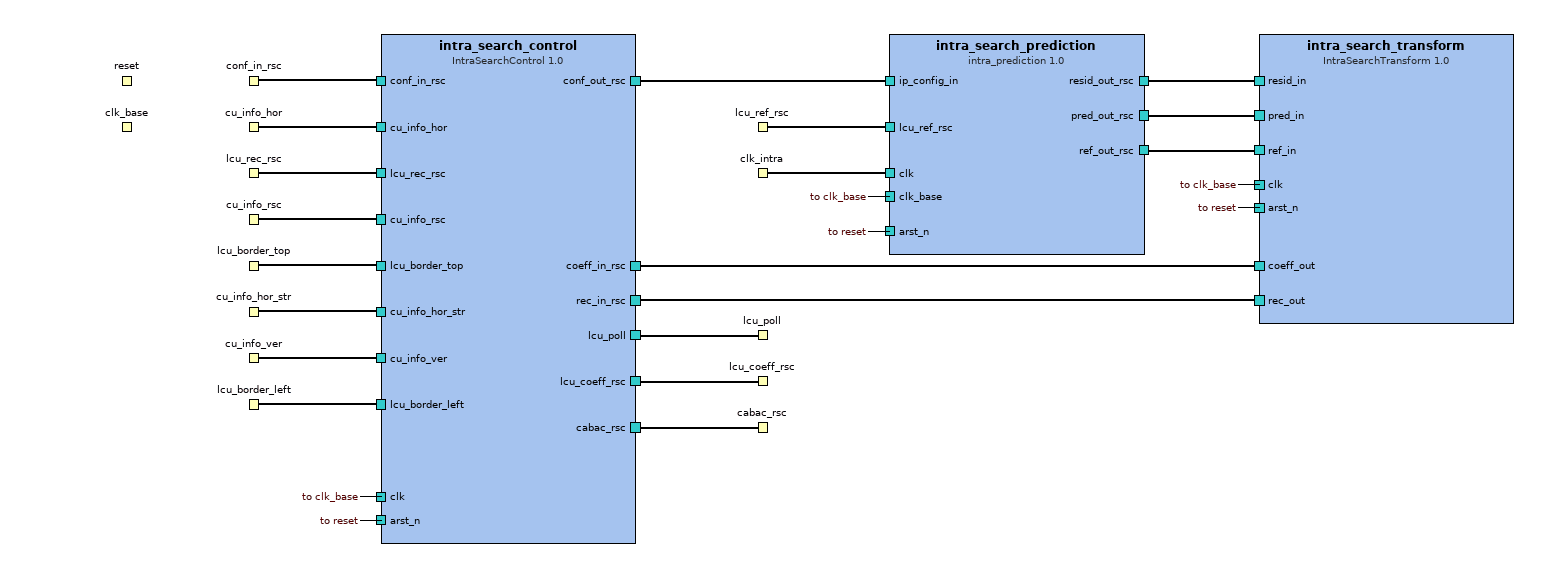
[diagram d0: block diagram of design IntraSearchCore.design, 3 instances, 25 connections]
<?xml version="1.0" encoding="UTF-8"?>
<ipxact:design xmlns:xsi="http://www.w3.org/2001/XMLSchema-instance" xmlns:ipxact="http://www.accellera.org/XMLSchema/IPXACT/1685-2014" xmlns:kactus2="http://kactus2.cs.tut.fi" xsi:schemaLocation="http://www.accellera.org/XMLSchema/IPXACT/1685-2014 http://www.accellera.org/XMLSchema/IPXACT/1685-2014/index.xsd"><ipxact:vendor>tuni.fi</ipxact:vendor><ipxact:library>Kvazaar</ipxact:library><ipxact:name>IntraSearchCore.design</ipxact:name>
 <ipxact:version>1.0</ipxact:version><ipxact:componentInstances>
 <ipxact:componentInstance><ipxact:instanceName>intra_search_control</ipxact:instanceName><ipxact:componentRef vendor="tuni.fi" library="KvazaarControl" name="IntraSearchControl" version="1.0"/></ipxact:componentInstance>
 <ipxact:componentInstance><ipxact:instanceName>intra_search_transform</ipxact:instanceName><ipxact:componentRef vendor="tuni.fi" library="KvazaarTransform" name="IntraSearchTransform" version="1.0"/></ipxact:componentInstance>
 <ipxact:componentInstance><ipxact:instanceName>intra_search_prediction</ipxact:instanceName><ipxact:componentRef vendor="tuni.fi" library="Kvazaar" name="intra_prediction" version="1.0"/></ipxact:componentInstance>
</ipxact:componentInstances><ipxact:interconnections>
 <ipxact:interconnection><ipxact:name>intra_search_prediction_arst_n_to_reset</ipxact:name><ipxact:activeInterface componentRef="intra_search_prediction" busRef="arst_n"/><ipxact:hierInterface busRef="reset"/></ipxact:interconnection>
 <ipxact:interconnection><ipxact:name>intra_search_transform_arst_n_to_reset</ipxact:name><ipxact:activeInterface componentRef="intra_search_transform" busRef="arst_n"/><ipxact:hierInterface busRef="reset"/></ipxact:interconnection>
 <ipxact:interconnection><ipxact:name>intra_search_control_arst_n_to_reset</ipxact:name><ipxact:activeInterface componentRef="intra_search_control" busRef="arst_n"/><ipxact:hierInterface busRef="reset"/></ipxact:interconnection>
 <ipxact:interconnection><ipxact:name>intra_search_control_conf_in_rsc_to_bus</ipxact:name><ipxact:activeInterface componentRef="intra_search_control" busRef="conf_in_rsc"/><ipxact:hierInterface busRef="conf_in_rsc"/></ipxact:interconnection>
 <ipxact:interconnection><ipxact:name>intra_search_control_cu_info_hor_to_bus</ipxact:name><ipxact:activeInterface componentRef="intra_search_control" busRef="cu_info_hor"/><ipxact:hierInterface busRef="cu_info_hor"/></ipxact:interconnection>
 <ipxact:interconnection><ipxact:name>intra_search_control_lcu_border_top_to_bus</ipxact:name><ipxact:activeInterface componentRef="intra_search_control" busRef="lcu_border_top"/><ipxact:hierInterface busRef="lcu_border_top"/></ipxact:interconnection>
 <ipxact:interconnection><ipxact:name>intra_search_control_cu_info_hor_str_to_bus</ipxact:name><ipxact:activeInterface componentRef="intra_search_control" busRef="cu_info_hor_str"/><ipxact:hierInterface busRef="cu_info_hor_str"/></ipxact:interconnection>
 <ipxact:interconnection><ipxact:name>intra_search_control_cu_info_ver_to_bus</ipxact:name><ipxact:activeInterface componentRef="intra_search_control" busRef="cu_info_ver"/><ipxact:hierInterface busRef="cu_info_ver"/></ipxact:interconnection>
 <ipxact:interconnection><ipxact:name>intra_search_control_lcu_border_left_to_bus</ipxact:name><ipxact:activeInterface componentRef="intra_search_control" busRef="lcu_border_left"/><ipxact:hierInterface busRef="lcu_border_left"/></ipxact:interconnection>
 <ipxact:interconnection><ipxact:name>intra_search_control_cu_info_rsc_to_bus_1</ipxact:name><ipxact:activeInterface componentRef="intra_search_control" busRef="cu_info_rsc"/><ipxact:hierInterface busRef="cu_info_rsc"/></ipxact:interconnection>
 <ipxact:interconnection><ipxact:name>intra_search_prediction_resid_out_rsc_to_intra_search_transform_resid_in</ipxact:name><ipxact:activeInterface componentRef="intra_search_prediction" busRef="resid_out_rsc"/><ipxact:activeInterface componentRef="intra_search_transform" busRef="resid_in"/></ipxact:interconnection>
 <ipxact:interconnection><ipxact:name>intra_search_prediction_pred_out_rsc_to_intra_search_transform_pred_in</ipxact:name><ipxact:activeInterface componentRef="intra_search_prediction" busRef="pred_out_rsc"/><ipxact:activeInterface componentRef="intra_search_transform" busRef="pred_in"/></ipxact:interconnection>
 <ipxact:interconnection><ipxact:name>intra_search_prediction_ref_out_rsc_to_intra_search_transform_ref_in</ipxact:name><ipxact:activeInterface componentRef="intra_search_prediction" busRef="ref_out_rsc"/><ipxact:activeInterface componentRef="intra_search_transform" busRef="ref_in"/></ipxact:interconnection>
 <ipxact:interconnection><ipxact:name>intra_search_prediction_lcu_ref_rsc_to_bus</ipxact:name><ipxact:activeInterface componentRef="intra_search_prediction" busRef="lcu_ref_rsc"/><ipxact:hierInterface busRef="lcu_ref_rsc"/></ipxact:interconnection>
 <ipxact:interconnection><ipxact:name>intra_search_transform_rec_out_to_intra_search_control_rec_in_rsc</ipxact:name><ipxact:activeInterface componentRef="intra_search_transform" busRef="rec_out"/><ipxact:activeInterface componentRef="intra_search_control" busRef="rec_in_rsc"/></ipxact:interconnection>
 <ipxact:interconnection><ipxact:name>intra_search_control_coeff_in_rsc_to_intra_search_transform_coeff_out</ipxact:name><ipxact:activeInterface componentRef="intra_search_control" busRef="coeff_in_rsc"/><ipxact:activeInterface componentRef="intra_search_transform" busRef="coeff_out"/></ipxact:interconnection>
 <ipxact:interconnection><ipxact:name>intra_search_control_conf_out_rsc_to_intra_search_prediction_ip_config_in</ipxact:name><ipxact:activeInterface componentRef="intra_search_control" busRef="conf_out_rsc"/><ipxact:activeInterface componentRef="intra_search_prediction" busRef="ip_config_in"/></ipxact:interconnection>
 <ipxact:interconnection><ipxact:name>intra_search_control_cabac_rsc_to_bus_1</ipxact:name><ipxact:activeInterface componentRef="intra_search_control" busRef="cabac_rsc"/><ipxact:hierInterface busRef="cabac_rsc"/></ipxact:interconnection>
 <ipxact:interconnection><ipxact:name>intra_search_control_lcu_poll_to_bus</ipxact:name><ipxact:activeInterface componentRef="intra_search_control" busRef="lcu_poll"/><ipxact:hierInterface busRef="lcu_poll"/></ipxact:interconnection>
 <ipxact:interconnection><ipxact:name>intra_search_control_lcu_rec_rsc_to_bus</ipxact:name><ipxact:activeInterface componentRef="intra_search_control" busRef="lcu_rec_rsc"/><ipxact:hierInterface busRef="lcu_rec_rsc"/></ipxact:interconnection>
 <ipxact:interconnection><ipxact:name>intra_search_control_lcu_coeff_rsc_to_bus_1</ipxact:name><ipxact:activeInterface componentRef="intra_search_control" busRef="lcu_coeff_rsc"/><ipxact:hierInterface busRef="lcu_coeff_rsc"/></ipxact:interconnection>
 <ipxact:interconnection><ipxact:name>intra_search_prediction_clk_to_clk_intra</ipxact:name><ipxact:activeInterface componentRef="intra_search_prediction" busRef="clk"/><ipxact:hierInterface busRef="clk_intra"/></ipxact:interconnection>
 <ipxact:interconnection><ipxact:name>intra_search_control_clk_to_clk_base</ipxact:name><ipxact:activeInterface componentRef="intra_search_control" busRef="clk"/><ipxact:hierInterface busRef="clk_base"/></ipxact:interconnection>
 <ipxact:interconnection><ipxact:name>intra_search_prediction_clk_base_to_clk_base</ipxact:name><ipxact:activeInterface componentRef="intra_search_prediction" busRef="clk_base"/><ipxact:hierInterface busRef="clk_base"/></ipxact:interconnection>
 <ipxact:interconnection><ipxact:name>intra_search_transform_clk_to_clk_base</ipxact:name><ipxact:activeInterface componentRef="intra_search_transform" busRef="clk"/><ipxact:hierInterface busRef="clk_base"/></ipxact:interconnection>
</ipxact:interconnections></ipxact:design>

